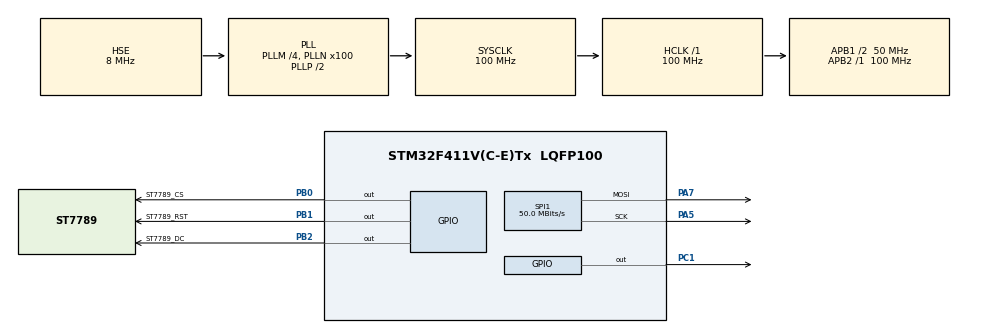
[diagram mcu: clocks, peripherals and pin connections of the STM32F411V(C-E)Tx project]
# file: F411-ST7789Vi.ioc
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Dma.Request0=SPI1_TX
Dma.SPI1_TX.0.Direction=DMA_MEMORY_TO_PERIPH
Dma.SPI1_TX.0.FIFOMode=DMA_FIFOMODE_DISABLE
Dma.SPI1_TX.0.Instance=DMA2_Stream2
Dma.SPI1_TX.0.MemDataAlignment=DMA_MDATAALIGN_BYTE
Dma.SPI1_TX.0.MemInc=DMA_MINC_ENABLE
Dma.SPI1_TX.0.Mode=DMA_NORMAL
Dma.SPI1_TX.0.PeriphDataAlignment=DMA_PDATAALIGN_BYTE
Dma.SPI1_TX.0.PeriphInc=DMA_PINC_DISABLE
Dma.SPI1_TX.0.Priority=DMA_PRIORITY_LOW
Mcu.Family=STM32F4
Mcu.Name=STM32F411V(C-E)Tx
Mcu.Package=LQFP100
NVIC.DMA2_Stream2_IRQn=true\:0\:0\:false\:false\:true\:false\:true\:true
NVIC.PriorityGroup=NVIC_PRIORITYGROUP_4
PA5.Mode=TX_Only_Simplex_Unidirect_Master
PA5.Signal=SPI1_SCK
PA7.Mode=TX_Only_Simplex_Unidirect_Master
PA7.Signal=SPI1_MOSI
PB0.GPIO_Label=ST7789_CS
PB0.Signal=GPIO_Output
PB1.GPIO_Label=ST7789_RST
PB1.Signal=GPIO_Output
PB2.GPIO_Label=ST7789_DC
PB2.Signal=GPIO_Output
PC1.Signal=GPIO_Output
PH0\ -\ OSC_IN.Mode=HSE-External-Oscillator
PH0\ -\ OSC_IN.Signal=RCC_OSC_IN
PH1\ -\ OSC_OUT.Mode=HSE-External-Oscillator
PH1\ -\ OSC_OUT.Signal=RCC_OSC_OUT
ProjectManager.HeapSize=0x200
ProjectManager.StackSize=0x400
ProjectManager.TargetToolchain=STM32CubeIDE
RCC.48MHZClocksFreq_Value=50000000
RCC.AHBFreq_Value=100000000
RCC.APB1CLKDivider=RCC_HCLK_DIV2
RCC.APB1Freq_Value=50000000
RCC.APB1TimFreq_Value=100000000
RCC.APB2Freq_Value=100000000
RCC.APB2TimFreq_Value=100000000
RCC.CortexFreq_Value=100000000
RCC.HCLKFreq_Value=100000000
RCC.HSE_VALUE=8000000
RCC.HSI_VALUE=16000000
RCC.LSE_VALUE=32768
RCC.PLLM=4
RCC.PLLN=100
RCC.PLLSourceVirtual=RCC_PLLSOURCE_HSE
RCC.SYSCLKFreq_VALUE=100000000
RCC.SYSCLKSource=RCC_SYSCLKSOURCE_PLLCLK
RCC.VCOOutputFreq_Value=200000000
SPI1.CLKPhase=SPI_PHASE_2EDGE
SPI1.CLKPolarity=SPI_POLARITY_HIGH
SPI1.CalculateBaudRate=50.0 MBits/s
SPI1.Direction=SPI_DIRECTION_2LINES
SPI1.Mode=SPI_MODE_MASTER
SPI1.VirtualType=VM_MASTER
board=custom

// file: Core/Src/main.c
/* USER CODE BEGIN Header */
/**
  ******************************************************************************
  * @file           : main.c
  * @brief          : Main program body
  ******************************************************************************
  * @attention
  *
  * Copyright (c) 2023 STMicroelectronics.
  * All rights reserved.
  *
  * This software is licensed under terms that can be found in the LICENSE file
  * in the root directory of this software component.
  * If no LICENSE file comes with this software, it is provided AS-IS.
  *
  ******************************************************************************
  */
/* USER CODE END Header */
#include "main.h"

/* USER CODE BEGIN Includes */
#include <stdlib.h>
#include "math.h"
#include "st7789.h"
#include "stdio.h"
#include "ASTIdef.h"
#include "OledData.h"

#define RED2RED 0
#define GREEN2GREEN 1
#define BLUE2BLUE 2
#define BLUE2RED 3
#define GREEN2RED 4
#define RED2GREEN 5
#define BWHITE 6
//#define Aqua 7

#define BYELLOW 8

uint16_t color2,color1;

uint16_t RGB(uint8_t r, uint8_t g, uint8_t b)
{
	return ((r & 0xF8) << 8) | ((g & 0xFC) << 3) | (b >> 3);
}
//

int cx=80;
int cy=84;
int r=68;
float x[360]; //outer points of Speed gaouges
float y[360];
float px[360]; //ineer point of Speed gaouges
float py[360];
float lx[360]; //text of Speed gaouges
float ly[360];
float nx[360]; //needle low of Speed gaouges
float ny[360];
float x2[360]; //outer points of RPM gaouges
float y2[360];
float px2[360]; //ineer point of RPM gaouges
float py2[360];
float lx2[360]; //text of RPM gaouges
float ly2[360];
float nx2[360]; //needle low of RPM gaouges
float ny2[360];
float sA;
float rA;
float rad=0.01745;

float speedAngle=0; //...speed variable 0-240
float rpmAngle=5;  //.....RPM variable 0-9

char buf[20];
/* USER CODE END Includes */

SPI_HandleTypeDef hspi1;
DMA_HandleTypeDef hdma_spi1_tx;

/* USER CODE BEGIN PV */
//int debug;
/* USER CODE END PV */

void SystemClock_Config(void);
static void MX_GPIO_Init(void);
static void MX_DMA_Init(void);
static void MX_SPI1_Init(void);

/* USER CODE BEGIN 0 */
	long long i = 0;

/* USER CODE END 0 */

int main(void)
{

  /* MCU Configuration--------------------------------------------------------*/

  /* Reset of all peripherals, Initializes the Flash interface and the Systick. */
  HAL_Init();

  /* Configure the system clock */
  SystemClock_Config();

  /* Initialize all configured peripherals */
  MX_GPIO_Init();
  MX_DMA_Init();
  MX_SPI1_Init();
  /* USER CODE BEGIN 2 */
  HAL_GPIO_WritePin(GPIOC, GPIO_PIN_1,  GPIO_PIN_SET);
  HAL_Delay(1000);
  ST7789_Init();
//ST7789_WriteChar(50, 50, 'p', &Font_7x10, BLACK, YELLOW);
//ST7789_WriteChar(50, 70, 'p', &Font_8x12, BLACK, YELLOW);
//while(1)
//{
//
//}
  DisplayBackground();
	HAL_Delay(2000);

  /* USER CODE END 2 */
  /* Infinite loop */
  /* USER CODE BEGIN WHILE */
  while (1)
  {
	  i = 20;
	  DisplayPressure(24464);
//	  for(int i = 27300; i < 41300; i++)
//	  {
	  	DisplayTemperature(i);
//	  }
	  DisplayUVIndex(100*7);
	  DisplayBattery(i);
	  ST7789_DrawImage(0, 40, 58, 58, weatherSunny);

	  for(int i = 0; i < 9999*4; i++)
	  {
	  	DisplayRPM(i);
	  }
	  DisplayOperatingHour(999999990);

//		HAL_Delay(10);
    /* USER CODE END WHILE */

  }
}

void SystemClock_Config(void)
{
  RCC_OscInitTypeDef RCC_OscInitStruct = {0};
  RCC_ClkInitTypeDef RCC_ClkInitStruct = {0};

  /** Configure the main internal regulator output voltage
  */
  __HAL_RCC_PWR_CLK_ENABLE();
  __HAL_PWR_VOLTAGESCALING_CONFIG(PWR_REGULATOR_VOLTAGE_SCALE1);

  /** Initializes the RCC Oscillators according to the specified parameters
  * in the RCC_OscInitTypeDef structure.
  */
  RCC_OscInitStruct.OscillatorType = RCC_OSCILLATORTYPE_HSE;
  RCC_OscInitStruct.HSEState = RCC_HSE_ON;
  RCC_OscInitStruct.PLL.PLLState = RCC_PLL_ON;
  RCC_OscInitStruct.PLL.PLLSource = RCC_PLLSOURCE_HSE;
  RCC_OscInitStruct.PLL.PLLM = 4;
  RCC_OscInitStruct.PLL.PLLN = 100;
  RCC_OscInitStruct.PLL.PLLP = RCC_PLLP_DIV2;
  RCC_OscInitStruct.PLL.PLLQ = 4;
  if (HAL_RCC_OscConfig(&RCC_OscInitStruct) != HAL_OK)
  {
    Error_Handler();
  }

  /** Initializes the CPU, AHB and APB buses clocks
  */
  RCC_ClkInitStruct.ClockType = RCC_CLOCKTYPE_HCLK|RCC_CLOCKTYPE_SYSCLK
                              |RCC_CLOCKTYPE_PCLK1|RCC_CLOCKTYPE_PCLK2;
  RCC_ClkInitStruct.SYSCLKSource = RCC_SYSCLKSOURCE_PLLCLK;
  RCC_ClkInitStruct.AHBCLKDivider = RCC_SYSCLK_DIV1;
  RCC_ClkInitStruct.APB1CLKDivider = RCC_HCLK_DIV2;
  RCC_ClkInitStruct.APB2CLKDivider = RCC_HCLK_DIV1;

  if (HAL_RCC_ClockConfig(&RCC_ClkInitStruct, FLASH_LATENCY_3) != HAL_OK)
  {
    Error_Handler();
  }
}

static void MX_SPI1_Init(void)
{

  /* SPI1 parameter configuration*/
  hspi1.Instance = SPI1;
  hspi1.Init.Mode = SPI_MODE_MASTER;
  hspi1.Init.Direction = SPI_DIRECTION_2LINES;
  hspi1.Init.DataSize = SPI_DATASIZE_8BIT;
  hspi1.Init.CLKPolarity = SPI_POLARITY_HIGH;
  hspi1.Init.CLKPhase = SPI_PHASE_2EDGE;
  hspi1.Init.NSS = SPI_NSS_SOFT;
  hspi1.Init.BaudRatePrescaler = SPI_BAUDRATEPRESCALER_2;
  hspi1.Init.FirstBit = SPI_FIRSTBIT_MSB;
  hspi1.Init.TIMode = SPI_TIMODE_DISABLE;
  hspi1.Init.CRCCalculation = SPI_CRCCALCULATION_DISABLE;
  hspi1.Init.CRCPolynomial = 10;
  if (HAL_SPI_Init(&hspi1) != HAL_OK)
  {
    Error_Handler();
  }

}

static void MX_DMA_Init(void)
{

  /* DMA controller clock enable */
  __HAL_RCC_DMA2_CLK_ENABLE();

  /* DMA interrupt init */
  /* DMA2_Stream2_IRQn interrupt configuration */
  HAL_NVIC_SetPriority(DMA2_Stream2_IRQn, 0, 0);
  HAL_NVIC_EnableIRQ(DMA2_Stream2_IRQn);

}

static void MX_GPIO_Init(void)
{
  GPIO_InitTypeDef GPIO_InitStruct = {0};

  /* GPIO Ports Clock Enable */
  __HAL_RCC_GPIOH_CLK_ENABLE();
  __HAL_RCC_GPIOC_CLK_ENABLE();
  __HAL_RCC_GPIOA_CLK_ENABLE();
  __HAL_RCC_GPIOB_CLK_ENABLE();

  /*Configure GPIO pin Output Level */
  HAL_GPIO_WritePin(GPIOC, GPIO_PIN_1, GPIO_PIN_RESET);

  /*Configure GPIO pin Output Level */
  HAL_GPIO_WritePin(GPIOB, ST7789_CS_Pin|ST7789_RST_Pin|ST7789_DC_Pin, GPIO_PIN_RESET);

  /*Configure GPIO pin : PC1 */
  GPIO_InitStruct.Pin = GPIO_PIN_1;
  GPIO_InitStruct.Mode = GPIO_MODE_OUTPUT_PP;
  GPIO_InitStruct.Pull = GPIO_NOPULL;
  GPIO_InitStruct.Speed = GPIO_SPEED_FREQ_LOW;
  HAL_GPIO_Init(GPIOC, &GPIO_InitStruct);

  /*Configure GPIO pins : ST7789_CS_Pin ST7789_RST_Pin ST7789_DC_Pin */
  GPIO_InitStruct.Pin = ST7789_CS_Pin|ST7789_RST_Pin|ST7789_DC_Pin;
  GPIO_InitStruct.Mode = GPIO_MODE_OUTPUT_PP;
  GPIO_InitStruct.Pull = GPIO_NOPULL;
  GPIO_InitStruct.Speed = GPIO_SPEED_FREQ_LOW;
  HAL_GPIO_Init(GPIOB, &GPIO_InitStruct);

}

void Error_Handler(void)
{
  __disable_irq();
  while (1)
  {
  }
}
